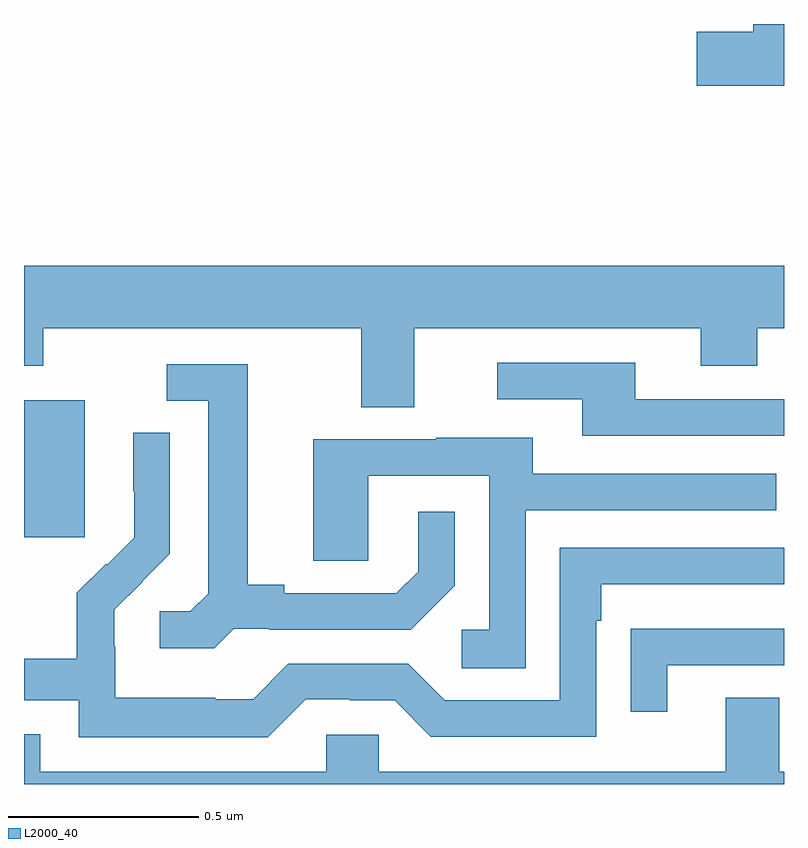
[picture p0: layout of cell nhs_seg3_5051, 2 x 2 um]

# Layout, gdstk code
import gdstk
lib = gdstk.Library(unit=1e-6, precision=1e-09)
def R(c, l, rs):  # rectangles x0, y0, x1, y1
    for r in rs: c.add(gdstk.rectangle(r[:2], r[2:], *l))
def P(c, l, *ps):  # polygons
    for p in ps: c.add(gdstk.Polygon(p, *l))
L2000_40 = (2000, 40)

nhs_seg3_5051 = lib.new_cell('nhs_seg3_5051')
R(nhs_seg3_5051, L2000_40, [(174,683.049,174.16,683.41)])
P(nhs_seg3_5051, L2000_40, [(176,684.4),(175.919,684.4),(175.919,684.38),(175.77,684.38),(175.77,684.238),(176,684.238)],
  [(175.027,683.6),(175.781,683.6),(175.781,683.501),(175.929,683.501),(175.929,683.6),(176,683.6),(176,683.764),(174,683.764),(174,683.501),(174.051,683.501),(174.051,683.6),(174.887,683.6),(174.887,683.392),(175.027,683.392)],
  [(176,683.412),(175.609,683.412),(175.609,683.508),(175.245,683.508),(175.245,683.412),(175.469,683.412),(175.469,683.316),(176,683.316)],
  [(174.552,682.809),(174.646,682.809),(174.646,682.806),(175.018,682.806),(175.134,682.922),(175.134,683.116),(175.037,683.116),(175.037,682.959),(174.98,682.902),(174.685,682.902),(174.685,682.925),(174.589,682.925),(174.589,683.505),(174.375,683.505),(174.375,683.409),(174.485,683.409),(174.485,682.901),(174.438,682.854),(174.357,682.854),(174.357,682.757),(174.5,682.757)],
  [(174.741,682.623),(174.857,682.623),(174.857,682.62),(174.975,682.62),(175.071,682.524),(175.506,682.524),(175.506,682.829),(175.519,682.829),(175.519,682.926),(176,682.926),(176,683.022),(175.41,683.022),(175.41,682.62),(175.107,682.62),(175.011,682.716),(174.696,682.716),(174.603,682.623),(174.503,682.623),(174.503,682.627),(174.24,682.627),(174.24,682.761),(174.238,682.761),(174.238,682.858),(174.312,682.932),(174.311,682.933),(174.384,683.006),(174.384,683.324),(174.288,683.324),(174.288,683.17),(174.29,683.17),(174.29,683.048),(174.219,682.977),(174.216,682.98),(174.139,682.903),(174.139,682.729),(174,682.729),(174,682.62),(174.144,682.62),(174.144,682.523),(174.641,682.523)],
  [(175.32,683.121),(175.979,683.121),(175.979,683.217),(175.339,683.217),(175.339,683.311),(175.085,683.311),(175.085,683.307),(174.761,683.307),(174.761,682.987),(174.906,682.987),(174.906,683.211),(175.224,683.211),(175.224,682.806),(175.152,682.806),(175.152,682.705),(175.32,682.705)],
  [(175.693,682.713),(176,682.713),(176,682.809),(175.699,682.809),(175.699,682.808),(175.597,682.808),(175.597,682.59),(175.693,682.59)],
  [(176,682.432),(175.987,682.432),(175.987,682.627),(175.847,682.627),(175.847,682.432),(174.933,682.432),(174.933,682.53),(174.795,682.53),(174.795,682.432),(174.043,682.432),(174.043,682.531),(174,682.531),(174,682.4),(176,682.4)])

lib.write_gds('nhs_seg3_5051.gds')
